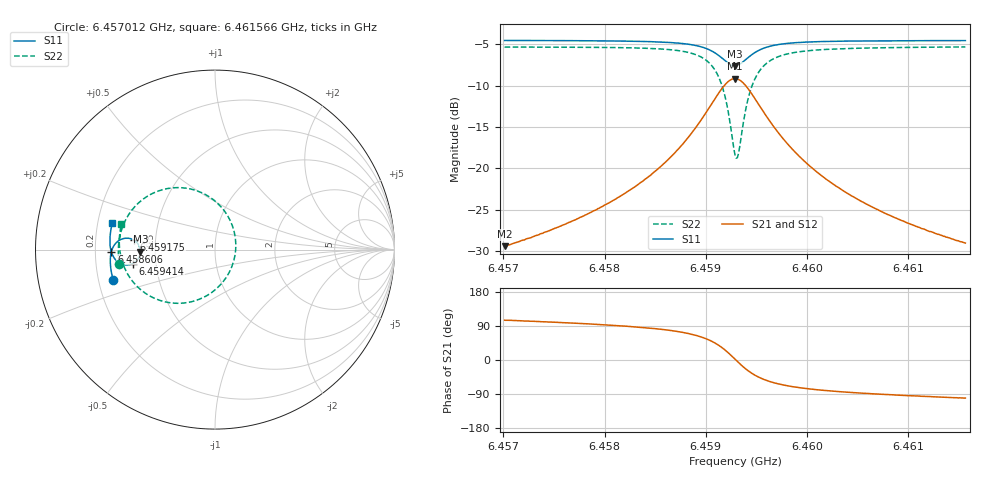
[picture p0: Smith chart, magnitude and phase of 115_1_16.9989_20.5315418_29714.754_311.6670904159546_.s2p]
#  HZ  S  RI  R  50.00
! Rohde & Schwarz Vector Network Analyzer
! Rohde-Schwarz,ZNB20-2Port,1311601062101988,3.16
! Created: UTC 3/20/2024, 10:57:11 PM
! freq[Hz]  re:S11  im:S11  re:S21  im:S21  re:S12  im:S12  re:S22  im:S22
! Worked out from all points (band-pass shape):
!   401 points, 6.457012 GHz to 6.461566 GHz, reference 50 ohm
!   highest |S21| = -9.15 dB at 6.459289 GHz (marker M1); lowest = -29.4 dB at 6.457012 GHz (marker M2)
!   |S21| within 3 dB of the highest: 6.459061 GHz to 6.459517 GHz (455.6 kHz wide, 0.00705 % of centre)
!   lowest |S11| = -7.6 dB at 6.459289 GHz (marker M3), VSWR 2.42, Z = 20.6 - j0.548 ohm
!   |S11| at or under -10 dB: nowhere
!   |S22| runs from -18.8 to -5.3 dB; largest |S21 - S12| = 0.014
!   S11 on the Smith chart (normalised r, x): 6.457012 GHz: 0.26, -0.14; 6.458606 GHz: 0.27, -0.01; 6.459175 GHz: 0.38, +0.05; 6.459414 GHz: 0.37, -0.07; 6.461566 GHz: 0.26, +0.12
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6.457012e9  -0.5668 -0.1709  -0.00881 0.0328  -0.00709 0.0328  -0.5337 -0.0813
6.4577748e9  -0.5806 -0.1039  -0.00554 0.0509  -0.00292 0.0503  -0.5384 0.00859
6.4581847e9  -0.5835 -0.0627  0.000252 0.0698  0.00349 0.0684  -0.5303 0.0736
6.4585377e9  -0.5795 -0.0204  0.0146 0.0997  0.0185 0.0968  -0.5039 0.1534
6.458606e9  -0.5773 -0.0108  0.02 0.1081  0.0241 0.1048  -0.4938 0.1736
6.4587996e9  -0.5646 0.0197  0.0468 0.1392  0.0509 0.1343  -0.4435 0.2429
6.4589476e9  -0.5416 0.0461  0.0926 0.1699  0.0958 0.1632  -0.3592 0.3073
6.4590842e9  -0.4972 0.0636  0.1806 0.1864  0.1815 0.1791  -0.1984 0.3453
6.4591753e9  -0.4521 0.053  0.2712 0.1546  0.2716 0.1488  -0.031 0.2934
6.4592436e9  -0.4228 0.0205  0.332 0.082  0.3342 0.0766  0.0843 0.1625
6.4592891e9  -0.4157 -0.011  0.3483 0.0133  0.3522 0.00636  0.1158 0.0343
6.4593005e9  -0.4163 -0.0191  0.3482 -0.00445  0.352 -0.0122  0.1154 0.000537
6.4593233e9  -0.4199 -0.0349  0.3424 -0.0395  0.3462 -0.0487  0.1038 -0.0655
6.4593688e9  -0.4357 -0.0614  0.3134 -0.0998  0.3155 -0.1116  0.0449 -0.179
6.4594144e9  -0.4578 -0.0778  0.2709 -0.1409  0.27 -0.1543  -0.0409 -0.2538
6.4595055e9  -0.5016 -0.0849  0.1853 -0.1721  0.1792 -0.1837  -0.2109 -0.2992
6.4596535e9  -0.5461 -0.0645  0.0968 -0.158  0.0884 -0.1641  -0.3792 -0.2488
6.4598129e9  -0.5679 -0.0367  0.0517 -0.1298  0.044 -0.1326  -0.4596 -0.1763
6.460052e9  -0.5808 -0.0013  0.0225 -0.0979  0.0166 -0.0986  -0.5075 -0.0936
6.4603822e9  -0.5854 0.0383  0.00682 -0.0716  0.00252 -0.0712  -0.5285 -0.0165
6.4608148e9  -0.5837 0.0821  -0.00143 -0.0523  -0.00431 -0.0514  -0.533 0.0539
6.4615663e9  -0.5719 0.1488  -0.00643 -0.0349  -0.00827 -0.0338  -0.5219 0.143
